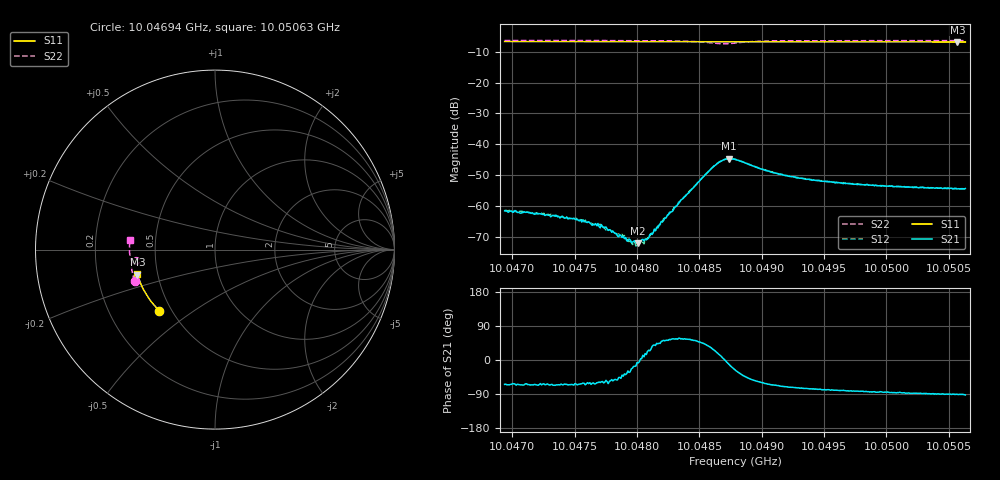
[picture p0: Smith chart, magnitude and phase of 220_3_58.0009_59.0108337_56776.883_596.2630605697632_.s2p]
#  HZ  S  RI  R  50.00
! Rohde & Schwarz Vector Network Analyzer
! Rohde-Schwarz,ZNB20-2Port,1311601062101988,3.16
! Created: UTC 3/21/2024, 1:00:07 AM
! freq[Hz]  re:S11  im:S11  re:S21  im:S21  re:S12  im:S12  re:S22  im:S22
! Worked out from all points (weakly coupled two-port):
!   401 points, 10.04694 GHz to 10.05063 GHz, reference 50 ohm
!   highest |S21| = -44.64 dB at 10.04874 GHz (marker M1); lowest = -72.1 dB at 10.04801 GHz (marker M2)
!   lowest |S11| = -6.9 dB at 10.05057 GHz (marker M3), VSWR 2.66, Z = 19.2 - j6.72 ohm
!   |S11| at or under -10 dB: nowhere
!   |S22| runs from -7.5 to -6.4 dB; largest |S21 - S12| = 0.0004
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1.0046937e10  -0.3093 -0.3415  0.000364 -0.000759  0.00041 -0.000741  -0.4469 -0.1736
1.0047233e10  -0.3231 -0.3275  0.000307 -0.000681  0.000359 -0.00068  -0.4533 -0.1542
1.0047556e10  -0.3376 -0.3116  0.000255 -0.000491  0.000285 -0.00052  -0.4594 -0.1323
1.0047713e10  -0.3442 -0.3037  0.000271 -0.000424  0.00026 -0.000371  -0.4619 -0.121
1.0047732e10  -0.3449 -0.3026  0.00022 -0.00039  0.000259 -0.000382  -0.4621 -0.1197
1.0047833e10  -0.3491 -0.2973  0.000218 -0.000284  0.000271 -0.000238  -0.4634 -0.1122
1.0047889e10  -0.3515 -0.2946  0.000238 -0.00022  0.000259 -0.000188  -0.4639 -0.108
1.0047972e10  -0.3548 -0.2904  0.000257 -7.78e-05  0.000237 -9.41e-05  -0.4649 -0.1015
1.0048009e10  -0.3563 -0.2883  0.000247 -3.26e-05  0.000253 -3.4e-05  -0.4651 -0.0986
1.0048037e10  -0.3574 -0.2869  0.000285 1.74e-05  0.00025 2.91e-05  -0.4654 -0.0963
1.0048074e10  -0.3588 -0.2849  0.000276 7.04e-05  0.000294 0.000108  -0.4654 -0.0933
1.0048175e10  -0.3629 -0.2795  0.000353 0.000343  0.000321 0.000359  -0.4658 -0.0843
1.0048351e10  -0.3695 -0.2699  0.000712 0.00103  0.000628 0.00108  -0.4632 -0.0672
1.00486e10  -0.3783 -0.2561  0.00359 0.00209  0.00345 0.00232  -0.4357 -0.0447
1.0048674e10  -0.3808 -0.252  0.00529 0.000919  0.00526 0.00119  -0.4212 -0.0543
1.0048739e10  -0.3829 -0.2486  0.00573 -0.00122  0.00581 -0.000861  -0.4205 -0.071
1.0048785e10  -0.3844 -0.2461  0.00512 -0.00252  0.00534 -0.00218  -0.4284 -0.0795
1.004909e10  -0.3949 -0.2289  0.00143 -0.00318  0.00165 -0.00313  -0.4666 -0.0611
1.0049404e10  -0.4045 -0.2106  0.000612 -0.00255  0.000776 -0.00256  -0.4741 -0.0334
1.0050023e10  -0.4207 -0.1731  0.000155 -0.00212  0.000265 -0.0021  -0.4762 0.0124
1.0050568e10  -0.4322 -0.1392  -1.99e-05 -0.0019  8.81e-05 -0.00191  -0.4739 0.0498
1.0050633e10  -0.4336 -0.1352  -7.21e-05 -0.00193  7.11e-05 -0.00192  -0.4733 0.0541
